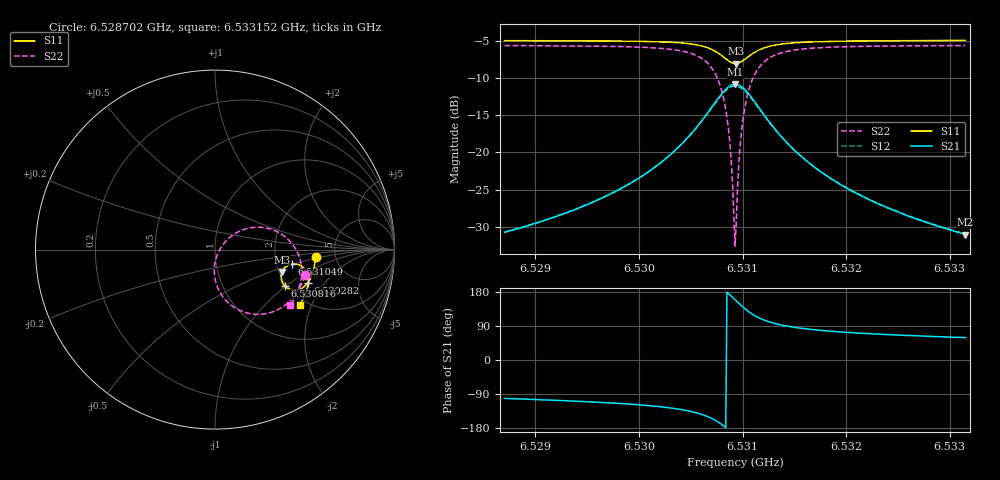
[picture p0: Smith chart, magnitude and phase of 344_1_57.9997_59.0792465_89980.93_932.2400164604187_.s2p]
#  HZ  S  RI  R  50.00
! Rohde & Schwarz Vector Network Analyzer
! Rohde-Schwarz,ZNB20-2Port,1311601062101988,3.16
! Created: UTC 3/21/2024, 1:05:43 AM
! freq[Hz]  re:S11  im:S11  re:S21  im:S21  re:S12  im:S12  re:S22  im:S22
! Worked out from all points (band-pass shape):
!   401 points, 6.528702 GHz to 6.533152 GHz, reference 50 ohm
!   highest |S21| = -10.86 dB at 6.530927 GHz (marker M1); lowest = -31.0 dB at 6.533152 GHz (marker M2)
!   |S21| within 3 dB of the highest: 6.530706 GHz to 6.531151 GHz (444.4 kHz wide, 0.0068 % of centre)
!   lowest |S11| = -8.1 dB at 6.530938 GHz (marker M3), VSWR 2.30, Z = 104 - j30.7 ohm
!   |S11| at or under -10 dB: nowhere
!   |S22| runs from -32.6 to -5.7 dB; largest |S21 - S12| = 0.01
!   S11 on the Smith chart (normalised r, x): 6.528702 GHz: 3.51, -0.42; 6.530282 GHz: 2.62, -1.38; 6.530816 GHz: 1.95, -0.97; 6.531049 GHz: 2.43, -0.49; 6.533152 GHz: 1.82, -1.65
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6.5287017e9  0.5601 -0.0411  -0.00577 -0.0285  -0.00633 -0.0283  0.5004 -0.1442
6.5294471e9  0.5512 -0.102  -0.0143 -0.0407  -0.0151 -0.0403  0.4722 -0.2117
6.5301926e9  0.5247 -0.1736  -0.0454 -0.0699  -0.0472 -0.0689  0.3967 -0.3048
6.5302816e9  0.518 -0.1839  -0.0546 -0.076  -0.0567 -0.0744  0.3769 -0.3192
6.5304931e9  0.4923 -0.2098  -0.0928 -0.092  -0.0954 -0.0889  0.3007 -0.3531
6.5306488e9  0.455 -0.225  -0.151 -0.0952  -0.1531 -0.0894  0.193 -0.3563
6.530749e9  0.4163 -0.221  -0.211 -0.0725  -0.2103 -0.0641  0.0908 -0.3103
6.5308157e9  0.3876 -0.2016  -0.2538 -0.029  -0.2498 -0.02  0.0237 -0.2305
6.5308491e9  0.3759 -0.1848  -0.2697 0.00456  -0.2635 0.0127  0.00214 -0.1722
6.5308714e9  0.3707 -0.1711  -0.2757 0.0306  -0.268 0.0378  -0.00385 -0.1281
6.5309159e9  0.3691 -0.1403  -0.2721 0.0872  -0.263 0.0914  0.0104 -0.0352
6.530927e9  0.3711 -0.1326  -0.2678 0.1014  -0.2584 0.1046  0.0197 -0.0127
6.5309381e9  0.3736 -0.1251  -0.2619 0.1148  -0.2526 0.1172  0.0312 0.00852
6.5309493e9  0.377 -0.118  -0.2549 0.1276  -0.2456 0.1291  0.0448 0.0284
6.5309715e9  0.386 -0.1051  -0.2375 0.1506  -0.2287 0.1504  0.0768 0.0633
6.5309938e9  0.3968 -0.0948  -0.2166 0.1688  -0.2087 0.1677  0.1139 0.0906
6.5310494e9  0.4282 -0.081  -0.1601 0.1942  -0.1547 0.1914  0.212 0.1234
6.5311273e9  0.4665 -0.0844  -0.0924 0.1924  -0.0898 0.19  0.3257 0.1087
6.5312385e9  0.4989 -0.1069  -0.0356 0.1629  -0.0342 0.1617  0.4188 0.0452
6.5316725e9  0.5201 -0.1826  0.0138 0.0805  0.0148 0.0804  0.4831 -0.1306
6.532418e9  0.4997 -0.2555  0.0164 0.0386  0.0171 0.0384  0.4552 -0.2458
6.5331523e9  0.4713 -0.3091  0.0144 0.0241  0.015 0.0239  0.4197 -0.3081
